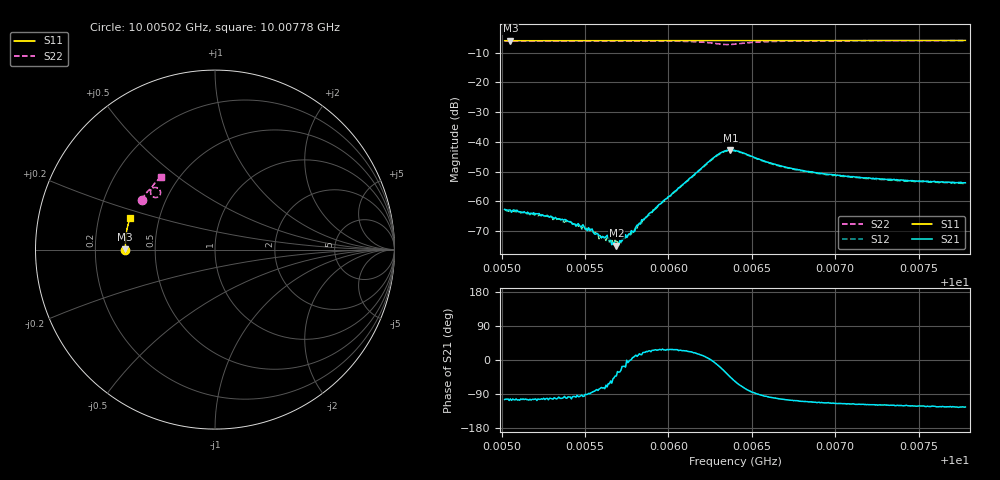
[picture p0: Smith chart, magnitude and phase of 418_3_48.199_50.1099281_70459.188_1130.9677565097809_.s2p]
#  HZ  S  RI  R  50.00
! Rohde & Schwarz Vector Network Analyzer
! Rohde-Schwarz,ZNB20-2Port,1311601062101988,3.16
! Created: UTC 3/20/2024, 11:54:49 AM
! freq[Hz]  re:S11  im:S11  re:S21  im:S21  re:S12  im:S12  re:S22  im:S22
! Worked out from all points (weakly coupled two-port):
!   401 points, 10.00502 GHz to 10.00778 GHz, reference 50 ohm
!   highest |S21| = -42.76 dB at 10.00637 GHz (marker M1); lowest = -74.9 dB at 10.00569 GHz (marker M2)
!   lowest |S11| = -6.0 dB at 10.00505 GHz (marker M3), VSWR 3.00, Z = 16.7 + j0.0411 ohm
!   |S11| at or under -10 dB: nowhere
!   |S22| runs from -7.3 to -6.0 dB; largest |S21 - S12| = 0.00043
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1.0005018e10  -0.4997 -0.00115  -0.000179 -0.000707  -0.000117 -0.000721  -0.4087 0.2784
1.0005052e10  -0.4997 0.000925  -0.000157 -0.000695  -0.00014 -0.000667  -0.4074 0.2807
1.0005287e10  -0.4999 0.0163  -0.000102 -0.000528  -7.02e-05 -0.000531  -0.3985 0.2944
1.000548e10  -0.4997 0.0289  -1.58e-05 -0.000379  -9.13e-06 -0.00034  -0.3903 0.306
1.0005529e10  -0.4998 0.0319  4.11e-06 -0.000322  1.71e-05 -0.000318  -0.388 0.3088
1.0005598e10  -0.4996 0.0365  7.27e-05 -0.000231  7.36e-05 -0.000233  -0.3848 0.313
1.0005639e10  -0.4994 0.0391  0.000114 -0.000218  0.000122 -0.000212  -0.3827 0.3154
1.000566e10  -0.4994 0.0404  8.98e-05 -0.000163  0.000148 -0.000183  -0.3815 0.3168
1.0005674e10  -0.4993 0.0414  0.000139 -0.000149  0.000117 -0.000131  -0.3809 0.3178
1.0005687e10  -0.4993 0.0423  0.000133 -0.000121  0.000166 -0.000124  -0.38 0.3187
1.0005715e10  -0.4992 0.044  0.000188 -9.55e-05  0.000175 -9.92e-05  -0.3786 0.3203
1.0005784e10  -0.4988 0.0485  0.000307 3.32e-05  0.000323 2.52e-05  -0.3747 0.3247
1.0005826e10  -0.4987 0.0512  0.000412 0.000121  0.000395 0.000134  -0.3719 0.3274
1.0005943e10  -0.498 0.0588  0.000783 0.000403  0.000755 0.000414  -0.363 0.3352
1.0006275e10  -0.4952 0.0802  0.00547 -0.000589  0.00537 -0.000328  -0.3071 0.3317
1.000633e10  -0.4947 0.0833  0.00613 -0.00309  0.00615 -0.00275  -0.3045 0.3088
1.0006371e10  -0.4943 0.0858  0.00512 -0.00517  0.00529 -0.00478  -0.3166 0.2936
1.0006399e10  -0.4942 0.0875  0.00393 -0.00594  0.00418 -0.00562  -0.3282 0.29
1.0006668e10  -0.4918 0.1048  -0.000861 -0.00387  -0.000663 -0.00381  -0.3576 0.3335
1.0006862e10  -0.4896 0.117  -0.00112 -0.00292  -0.000939 -0.00287  -0.3489 0.352
1.0007324e10  -0.4828 0.1461  -0.00116 -0.00202  -0.00103 -0.00203  -0.3256 0.3803
1.000778e10  -0.4743 0.1743  -0.00114 -0.0017  -0.00105 -0.00172  -0.3024 0.4021
